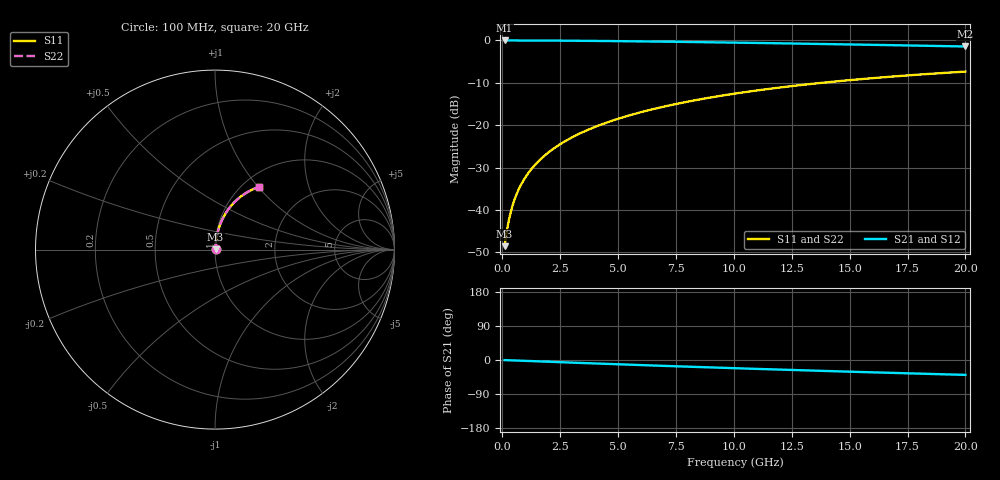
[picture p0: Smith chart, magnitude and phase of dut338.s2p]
! Touchstone file exported from HFSS 2024.1.0
!  File:  C:/UserFiles/LocalFiles/RDL_TSV_Batchsim/temp_RDL_bottom_338_1779611774.aedt
!  Generated:  04:39:12 PM May 24, 2026
!  Design:  RDL_bottom
!  Project:  temp_RDL_bottom_338_1779611774
!  Setup:  Setup1
!  Solution:  Sweep
! Variables:
!  dtsv = 10.80580581um
!  hbump = 3um
!  htsv = 72.22um
!  ldown = 504.58um
!  lrdl = 100um
!  p = 40
!  p1 = 53.81um
!  rhole = 1um
!  t = 450um
!  tdown = 4.36um
!  trdl = 3.915915916um
!  wdown = 15.28um
!  wrdl = 20um
# GHz S MA R 50.000000
! Terminal data exported
! Port[1] = RDL1_T1
! Port[2] = RDL1_T2
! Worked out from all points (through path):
!   200 points, 100 MHz to 20 GHz, reference 50 ohm
!   highest |S21| = -0.02 dB at 100 MHz (marker M1); lowest = -1.4 dB at 20 GHz (marker M2)
!   group delay of S21, straight-line fit = 5.44 ps
!   lowest |S11| = -48.5 dB at 100 MHz (marker M3), VSWR 1.01, Z = 50.3 + j0.25 ohm
!   |S11| at or under -10 dB: start of sweep to 13.83 GHz
!   |S22| runs from -48.5 to -7.4 dB; largest |S21 - S12| = 2e-15
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0.1  0.003738 41.7  0.9972 -0.2  0.9972 -0.2  0.003738 41.7
! Gamma 0 0 0 0
! Port Impedance 50 0 50 0
0.2  0.005725 59.9  0.9971 -0.5  0.9971 -0.5  0.005725 59.9
0.3  0.007968 68.0  0.997 -0.7  0.997 -0.7  0.007968 68.0
0.4  0.01028 72.4  0.9969 -0.9  0.9969 -0.9  0.01028 72.4
0.5  0.0126 75.1  0.9967 -1.2  0.9967 -1.2  0.0126 75.1
0.6  0.01493 76.9  0.9966 -1.4  0.9966 -1.4  0.01493 76.9
0.8  0.01959 79.2  0.9963 -1.9  0.9963 -1.9  0.01959 79.2
1.1  0.02661 81.1  0.9958 -2.6  0.9958 -2.6  0.02661 81.1
1.5  0.03601 82.2  0.995 -3.5  0.995 -3.5  0.03601 82.2
1.8  0.04308 82.5  0.9942 -4.2  0.9942 -4.2  0.04308 82.5
2.1  0.05017 82.7  0.9933 -4.9  0.9933 -4.9  0.05017 82.7
2.7  0.06437 82.5  0.9912 -6.2  0.9912 -6.2  0.06437 82.5
3.5  0.08332 81.9  0.9876 -8.0  0.9876 -8.0  0.08332 81.9
4.2  0.09991 81.1  0.9839 -9.6  0.9839 -9.6  0.09991 81.1
5  0.1188 80.0  0.9792 -11.3  0.9792 -11.3  0.1188 80.0
5.9  0.1401 78.7  0.9733 -13.2  0.9733 -13.2  0.1401 78.7
6.8  0.1612 77.3  0.9668 -15.1  0.9668 -15.1  0.1612 77.3
8.4  0.1983 74.6  0.9544 -18.4  0.9544 -18.4  0.1983 74.6
10.1  0.2368 71.7  0.9401 -21.8  0.9401 -21.8  0.2368 71.7
13.4  0.3075 65.9  0.9102 -28.0  0.9102 -28.0  0.3075 65.9
16.7  0.3715 60.2  0.8788 -33.8  0.8788 -33.8  0.3715 60.2
20  0.428 54.8  0.8468 -39.3  0.8468 -39.3  0.428 54.8
